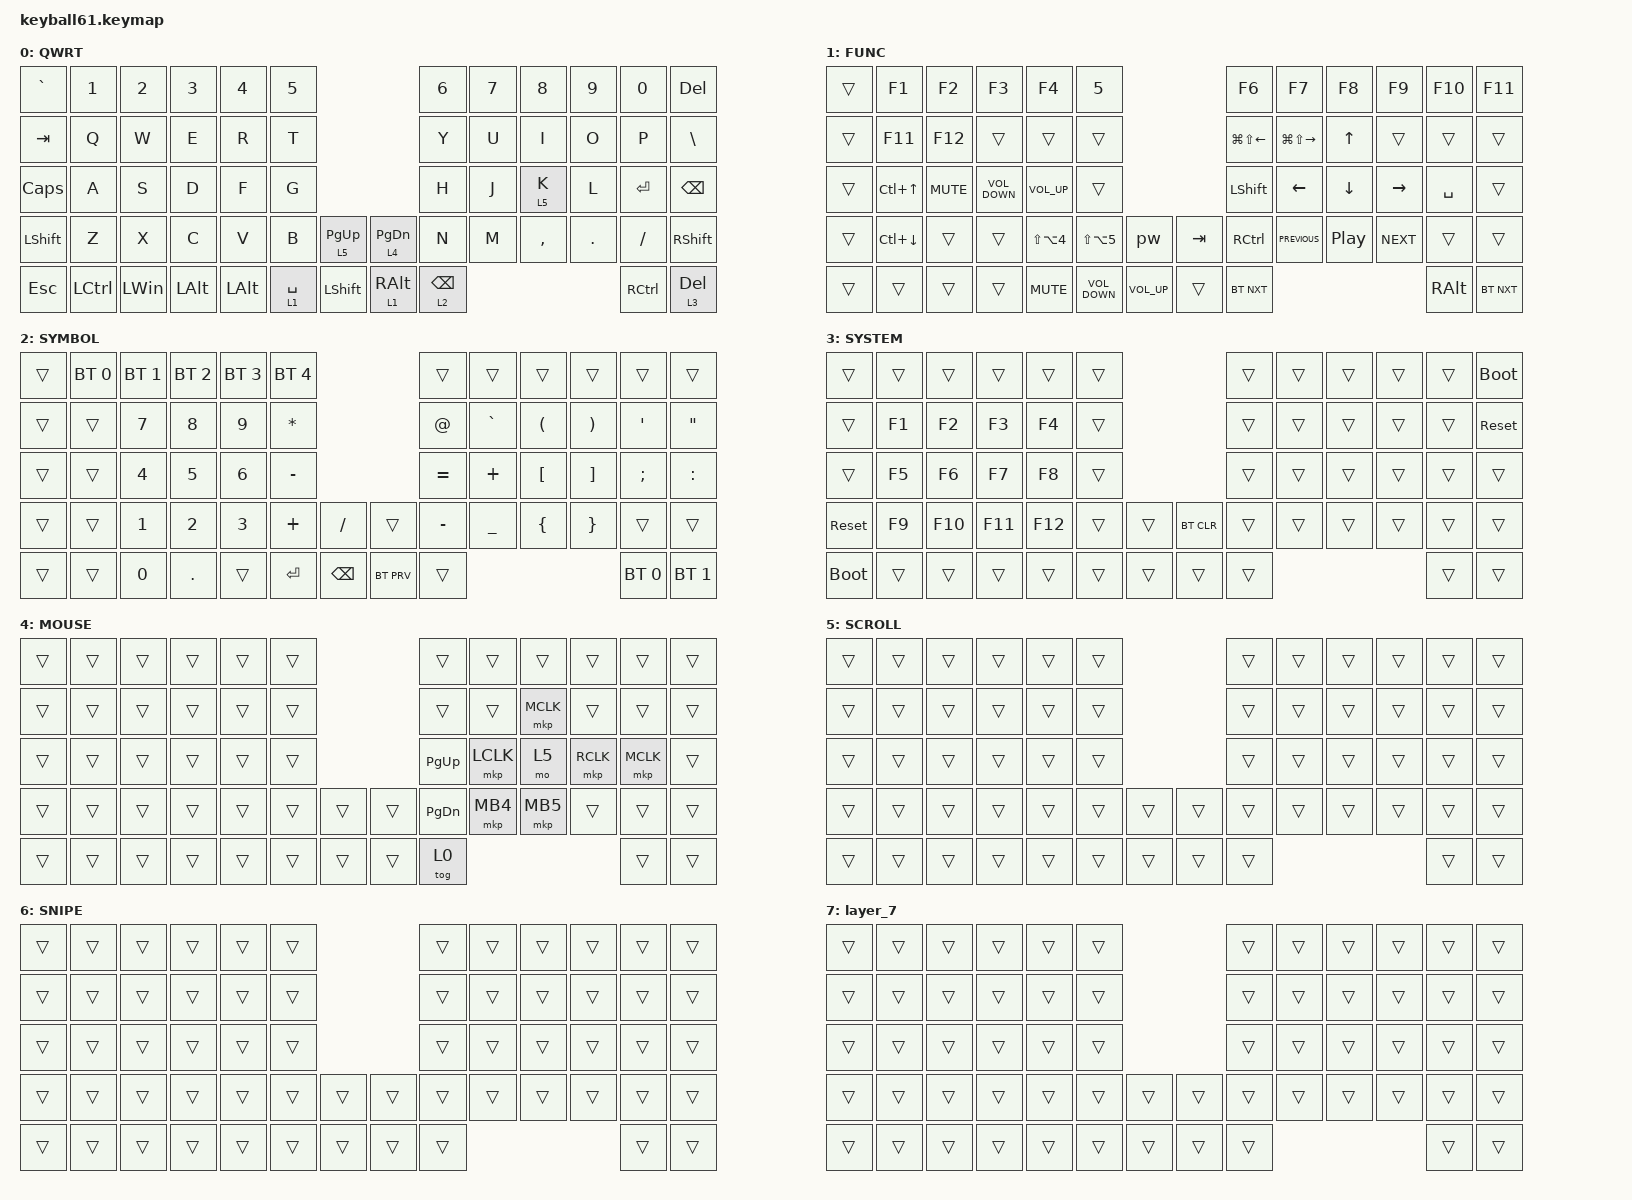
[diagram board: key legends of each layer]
#define DEFAULT 0
#define SYM     1
#define FUN     2
#define MOUSE   3
#define SCROLL  4
#define SNIPE   5

#include <behaviors/mouse_keys.dtsi>
#include <dt-bindings/zmk/mouse.h>
#include <behaviors.dtsi>
#include <dt-bindings/zmk/bt.h>
#include <dt-bindings/zmk/keys.h>
#include <dt-bindings/zmk/pointing.h>

&lt {
    tapping-term-ms = <240>;
    flavor = "balanced";
    quick-tap-ms = <150>;
};

&mt {
    tapping-term-ms = <200>;
    flavor = "tap-preferred";
    quick-tap-ms = <150>;
};

/ {
    macros {
        pw: pw {
            compatible = "zmk,behavior-macro";
            #binding-cells = <0>;
            bindings = <&kp LS(T) &kp S &kp H &kp I &kp O &kp R &kp I &kp AT &kp N0 &kp N6 &kp N0 &kp N4 &kp ENTER>;
            label = "PW";
        };
    };

    combos { compatible = "zmk,combos"; };

    keymap {
        compatible = "zmk,keymap";

        default_layer {
            label = "QWRT";
            bindings = <
&kp GRAVE       &kp N1     &kp N2        &kp N3        &kp N4        &kp N5                                        &kp N6           &kp N7  &kp N8     &kp N9   &kp N0             &kp DELETE
&kp TAB         &kp Q      &kp W         &kp E         &kp R         &kp T                                         &kp Y            &kp U   &kp I      &kp O    &kp P              &kp BACKSLASH
&kp CAPS        &kp A      &kp S         &kp D         &kp F         &kp G                                         &kp H            &kp J   &lt 5 K    &kp L    &kp RETURN         &kp BACKSPACE
&kp LEFT_SHIFT  &kp Z      &kp X         &kp C         &kp V         &kp B        &lt 5 PAGE_UP   &lt 4 PAGE_DOWN  &kp N            &kp M   &kp COMMA  &kp DOT  &kp FSLH           &kp RIGHT_SHIFT
&kp ESCAPE      &kp LCTRL  &kp LEFT_WIN  &kp LEFT_ALT  &kp LEFT_ALT  &lt 1 SPACE  &kp LEFT_SHIFT  &lt 1 RIGHT_ALT  &lt 2 BACKSPACE                              &kp RIGHT_CONTROL  &lt 3 DELETE
            >;
        };

        funcation {
            bindings = <
&trans  &kp F1            &kp F2      &kp F3             &kp F4                &kp N5                                       &kp F6             &kp F7             &kp F8            &kp F9           &kp F10        &kp F11
&trans  &kp F11           &kp F12     &trans             &trans                &trans                                       &kp LG(LS(LEFT))   &kp LG(LS(RIGHT))  &kp UP_ARROW      &trans           &trans         &trans
&trans  &kp LC(UP_ARROW)  &kp C_MUTE  &kp C_VOLUME_DOWN  &kp C_VOLUME_UP       &trans                                       &kp LEFT_SHIFT     &kp LEFT_ARROW     &kp DOWN_ARROW    &kp RIGHT_ARROW  &kp SPACE      &trans
&trans  &kp LC(DOWN)      &trans      &trans             &kp LS(LA(NUMBER_4))  &kp LS(LA(N5))     &pw              &kp TAB  &kp RIGHT_CONTROL  &kp C_PREVIOUS     &kp C_PLAY_PAUSE  &kp C_NEXT       &trans         &trans
&trans  &trans            &trans      &trans             &kp C_MUTE            &kp C_VOLUME_DOWN  &kp C_VOLUME_UP  &trans   &bt BT_NXT                                                               &kp RIGHT_ALT  &bt BT_NXT
            >;

            label = "FUNC";
        };

        symbol_layer {
            label = "SYMBOL";
            bindings = <
&trans  &bt BT_SEL 0  &bt BT_SEL 1  &bt BT_SEL 2  &bt BT_SEL 3  &bt BT_SEL 4                             &trans       &trans          &trans                &trans                 &trans         &trans
&trans  &trans        &kp N7        &kp N8        &kp NUMBER_9  &kp ASTERISK                             &kp AT_SIGN  &kp GRAVE       &kp LEFT_PARENTHESIS  &kp RIGHT_PARENTHESIS  &kp SQT        &kp DOUBLE_QUOTES
&trans  &trans        &kp NUMBER_4  &kp N5        &kp NUMBER_6  &kp MINUS                                &kp EQUAL    &kp PLUS        &kp LEFT_BRACKET      &kp RIGHT_BRACKET      &kp SEMICOLON  &kp COLON
&trans  &trans        &kp NUMBER_1  &kp NUMBER_2  &kp NUMBER_3  &kp PLUS      &kp SLASH      &trans      &kp MINUS    &kp UNDERSCORE  &kp LEFT_BRACE        &kp RIGHT_BRACE        &trans         &trans
&trans  &trans        &kp N0        &kp DOT       &trans        &kp RETURN    &kp BACKSPACE  &bt BT_PRV  &trans                                                                    &bt BT_SEL 0   &bt BT_SEL 1
            >;
        };

        system {
            label = "SYSTEM";
            bindings = <
&trans       &trans  &trans   &trans   &trans   &trans                      &trans  &trans  &trans  &trans  &trans  &bootloader
&trans       &kp F1  &kp F2   &kp F3   &kp F4   &trans                      &trans  &trans  &trans  &trans  &trans  &sys_reset
&trans       &kp F5  &kp F6   &kp F7   &kp F8   &trans                      &trans  &trans  &trans  &trans  &trans  &trans
&sys_reset   &kp F9  &kp F10  &kp F11  &kp F12  &trans  &trans  &bt BT_CLR  &trans  &trans  &trans  &trans  &trans  &trans
&bootloader  &trans  &trans   &trans   &trans   &trans  &trans  &trans      &trans                          &trans  &trans
            >;
        };

        mouse_layer {
            label = "MOUSE";
            bindings = <
&trans  &trans  &trans  &trans  &trans  &trans                  &trans         &trans     &trans     &trans     &trans     &trans
&trans  &trans  &trans  &trans  &trans  &trans                  &trans         &trans     &mkp MCLK  &trans     &trans     &trans
&trans  &trans  &trans  &trans  &trans  &trans                  &kp PAGE_UP    &mkp LCLK  &mo 5      &mkp RCLK  &mkp MCLK  &trans
&trans  &trans  &trans  &trans  &trans  &trans  &trans  &trans  &kp PAGE_DOWN  &mkp MB4   &mkp MB5   &trans     &trans     &trans
&trans  &trans  &trans  &trans  &trans  &trans  &trans  &trans  &tog 0                                          &trans     &trans
            >;
        };

        scroll_layer {
            label = "SCROLL";
            bindings = <
&trans  &trans  &trans  &trans  &trans  &trans                  &trans  &trans  &trans  &trans  &trans  &trans
&trans  &trans  &trans  &trans  &trans  &trans                  &trans  &trans  &trans  &trans  &trans  &trans
&trans  &trans  &trans  &trans  &trans  &trans                  &trans  &trans  &trans  &trans  &trans  &trans
&trans  &trans  &trans  &trans  &trans  &trans  &trans  &trans  &trans  &trans  &trans  &trans  &trans  &trans
&trans  &trans  &trans  &trans  &trans  &trans  &trans  &trans  &trans                          &trans  &trans
            >;
        };

        snipe_layer {
            label = "SNIPE";
            bindings = <
&trans  &trans  &trans  &trans  &trans  &trans                  &trans  &trans  &trans  &trans  &trans  &trans
&trans  &trans  &trans  &trans  &trans  &trans                  &trans  &trans  &trans  &trans  &trans  &trans
&trans  &trans  &trans  &trans  &trans  &trans                  &trans  &trans  &trans  &trans  &trans  &trans
&trans  &trans  &trans  &trans  &trans  &trans  &trans  &trans  &trans  &trans  &trans  &trans  &trans  &trans
&trans  &trans  &trans  &trans  &trans  &trans  &trans  &trans  &trans                          &trans  &trans
            >;
        };

        layer_7 {
            bindings = <
&trans  &trans  &trans  &trans  &trans  &trans                  &trans  &trans  &trans  &trans  &trans  &trans
&trans  &trans  &trans  &trans  &trans  &trans                  &trans  &trans  &trans  &trans  &trans  &trans
&trans  &trans  &trans  &trans  &trans  &trans                  &trans  &trans  &trans  &trans  &trans  &trans
&trans  &trans  &trans  &trans  &trans  &trans  &trans  &trans  &trans  &trans  &trans  &trans  &trans  &trans
&trans  &trans  &trans  &trans  &trans  &trans  &trans  &trans  &trans                          &trans  &trans
            >;
        };
    };
};
